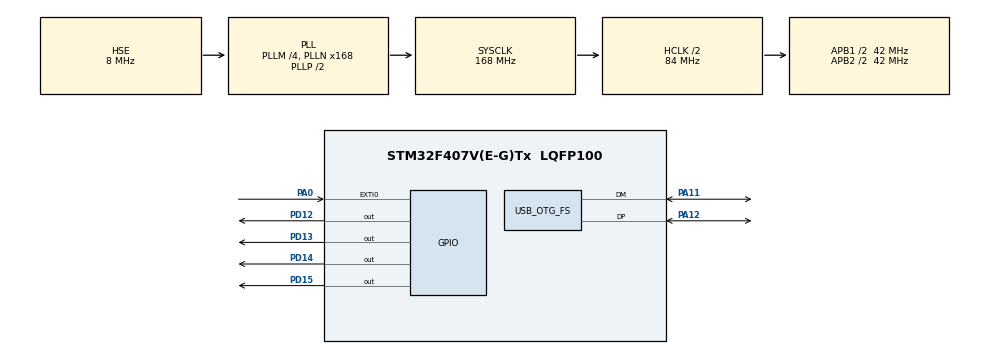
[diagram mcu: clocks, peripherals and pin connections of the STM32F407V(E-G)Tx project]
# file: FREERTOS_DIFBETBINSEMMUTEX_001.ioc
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FREERTOS.BinarySemaphores01=myBinarySem01,Dynamic,NULL,;myBinarySem02,Dynamic,NULL,Available
FREERTOS.Mutexes01=myMutex01,Dynamic,NULL,Depleted;myMutex02,Dynamic,NULL,Available
FREERTOS.Tasks01=Task1,1,256,StartTask1,Default,NULL,Dynamic,NULL,NULL;Task2,0,256,StartTask2,Default,NULL,Dynamic,NULL,NULL;myTask03,-1,128,StartTask03,Default,NULL,Dynamic,NULL,NULL
FREERTOS.configTOTAL_HEAP_SIZE=15000
FREERTOS.configUSE_NEWLIB_REENTRANT=1
Mcu.Family=STM32F4
Mcu.Name=STM32F407V(E-G)Tx
Mcu.Package=LQFP100
NVIC.EXTI0_IRQn=true\:5\:0\:false\:false\:true\:true\:true\:true\:true
NVIC.OTG_FS_IRQn=true\:5\:0\:false\:false\:true\:true\:false\:true\:true
NVIC.PriorityGroup=NVIC_PRIORITYGROUP_4
NVIC.TIM2_IRQn=true\:15\:0\:false\:false\:true\:false\:false\:true\:true
NVIC.TimeBase=TIM2_IRQn
NVIC.TimeBaseIP=TIM2
PA0-WKUP.GPIO_ModeDefaultEXTI=GPIO_MODE_IT_RISING
PA0-WKUP.GPIO_PuPd=GPIO_PULLDOWN
PA0-WKUP.Signal=GPXTI0
PA11.Mode=Device_Only
PA11.Signal=USB_OTG_FS_DM
PA12.Mode=Device_Only
PA12.Signal=USB_OTG_FS_DP
PA13.Mode=Serial_Wire
PA13.Signal=SYS_JTMS-SWDIO
PA14.Mode=Serial_Wire
PA14.Signal=SYS_JTCK-SWCLK
PD12.Signal=GPIO_Output
PD13.Signal=GPIO_Output
PD14.Signal=GPIO_Output
PD15.Signal=GPIO_Output
PH0-OSC_IN.Mode=HSE-External-Oscillator
PH0-OSC_IN.Signal=RCC_OSC_IN
PH1-OSC_OUT.Mode=HSE-External-Oscillator
PH1-OSC_OUT.Signal=RCC_OSC_OUT
ProjectManager.HeapSize=0x200
ProjectManager.StackSize=0x400
ProjectManager.TargetToolchain=STM32CubeIDE
RCC.48MHZClocksFreq_Value=48000000
RCC.AHBCLKDivider=RCC_SYSCLK_DIV2
RCC.AHBFreq_Value=84000000
RCC.APB1CLKDivider=RCC_HCLK_DIV2
RCC.APB1Freq_Value=42000000
RCC.APB1TimFreq_Value=84000000
RCC.APB2CLKDivider=RCC_HCLK_DIV2
RCC.APB2Freq_Value=42000000
RCC.APB2TimFreq_Value=84000000
RCC.CortexFreq_Value=84000000
RCC.HCLKFreq_Value=84000000
RCC.HSE_VALUE=8000000
RCC.HSI_VALUE=16000000
RCC.LSE_VALUE=32768
RCC.PLLM=4
RCC.PLLN=168
RCC.PLLQ=7
RCC.SYSCLKFreq_VALUE=168000000
RCC.SYSCLKSource=RCC_SYSCLKSOURCE_PLLCLK
RCC.VCOOutputFreq_Value=336000000
USB_DEVICE.CLASS_NAME_FS=CDC
USB_DEVICE.PRODUCT_STRING_CDC_FS=STM32 Virtualcom
USB_DEVICE.VirtualMode-CDC_FS=Cdc
USB_DEVICE.VirtualModeFS=Cdc_FS
USB_OTG_FS.VirtualMode=Device_Only
VP_FREERTOS_VS_CMSIS_V1.Mode=CMSIS_V1
VP_SYS_VS_tim2.Mode=TIM2
VP_USB_DEVICE_VS_USB_DEVICE_CDC_FS.Mode=CDC_FS
board=custom

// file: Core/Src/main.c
/* USER CODE BEGIN Header */
/**
  ******************************************************************************
  * @file           : main.c
  * @brief          : Main program body
  ******************************************************************************
  * @attention
  *
  * Copyright (c) 2024 STMicroelectronics.
  * All rights reserved.
  *
  * This software is licensed under terms that can be found in the LICENSE file
  * in the root directory of this software component.
  * If no LICENSE file comes with this software, it is provided AS-IS.
  *
  ******************************************************************************
  */
/* USER CODE END Header */
#include "main.h"
#include "cmsis_os.h"
#include "usb_device.h"

/* USER CODE BEGIN Includes */
#include "semphr.h"
#include "FreeRTOS.h"
#include "task.h"

#include "stdint.h"

#include "usbd_cdc_if.h"
#include "string.h"
#include "usbd_desc.h"
#include "usbd_conf.h"

volatile uint8_t control = 0;

/* USER CODE END Includes */

osThreadId Task1Handle;
osThreadId Task2Handle;
osThreadId myTask03Handle;
osMutexId myMutex01Handle;
osMutexId myMutex02Handle;
osSemaphoreId myBinarySem01Handle;
osSemaphoreId myBinarySem02Handle;

void SystemClock_Config(void);
static void MX_GPIO_Init(void);
void StartTask1(void const * argument);
void StartTask2(void const * argument);
void StartTask03(void const * argument);

int main(void)
{

  /* MCU Configuration--------------------------------------------------------*/

  /* Reset of all peripherals, Initializes the Flash interface and the Systick. */
  HAL_Init();

  /* Configure the system clock */
  SystemClock_Config();

  /* Initialize all configured peripherals */
  MX_GPIO_Init();

  /* Create the mutex(es) */
  /* definition and creation of myMutex01 */
  osMutexDef(myMutex01);
  myMutex01Handle = osMutexCreate(osMutex(myMutex01));

  /* definition and creation of myMutex02 */
  osMutexDef(myMutex02);
  myMutex02Handle = osMutexCreate(osMutex(myMutex02));

  /* Create the semaphores(s) */
  /* definition and creation of myBinarySem01 */
  osSemaphoreDef(myBinarySem01);
  myBinarySem01Handle = osSemaphoreCreate(osSemaphore(myBinarySem01), 1);

  /* definition and creation of myBinarySem02 */
  osSemaphoreDef(myBinarySem02);
  myBinarySem02Handle = osSemaphoreCreate(osSemaphore(myBinarySem02), 1);

  /* Create the thread(s) */
  /* definition and creation of Task1 */
  osThreadDef(Task1, StartTask1, osPriorityAboveNormal, 0, 256);
  Task1Handle = osThreadCreate(osThread(Task1), NULL);

  /* definition and creation of Task2 */
  osThreadDef(Task2, StartTask2, osPriorityNormal, 0, 256);
  Task2Handle = osThreadCreate(osThread(Task2), NULL);

  /* definition and creation of myTask03 */
  osThreadDef(myTask03, StartTask03, osPriorityBelowNormal, 0, 128);
  myTask03Handle = osThreadCreate(osThread(myTask03), NULL);

  /* Start scheduler */
  osKernelStart();

  /* We should never get here as control is now taken by the scheduler */

  /* Infinite loop */
  while (1)
  {

  }
}

void SystemClock_Config(void)
{
  RCC_OscInitTypeDef RCC_OscInitStruct = {0};
  RCC_ClkInitTypeDef RCC_ClkInitStruct = {0};

  /** Configure the main internal regulator output voltage
  */
  __HAL_RCC_PWR_CLK_ENABLE();
  __HAL_PWR_VOLTAGESCALING_CONFIG(PWR_REGULATOR_VOLTAGE_SCALE1);

  /** Initializes the RCC Oscillators according to the specified parameters
  * in the RCC_OscInitTypeDef structure.
  */
  RCC_OscInitStruct.OscillatorType = RCC_OSCILLATORTYPE_HSE;
  RCC_OscInitStruct.HSEState = RCC_HSE_ON;
  RCC_OscInitStruct.PLL.PLLState = RCC_PLL_ON;
  RCC_OscInitStruct.PLL.PLLSource = RCC_PLLSOURCE_HSE;
  RCC_OscInitStruct.PLL.PLLM = 4;
  RCC_OscInitStruct.PLL.PLLN = 168;
  RCC_OscInitStruct.PLL.PLLP = RCC_PLLP_DIV2;
  RCC_OscInitStruct.PLL.PLLQ = 7;
  if (HAL_RCC_OscConfig(&RCC_OscInitStruct) != HAL_OK)
  {
    Error_Handler();
  }

  /** Initializes the CPU, AHB and APB buses clocks
  */
  RCC_ClkInitStruct.ClockType = RCC_CLOCKTYPE_HCLK|RCC_CLOCKTYPE_SYSCLK
                              |RCC_CLOCKTYPE_PCLK1|RCC_CLOCKTYPE_PCLK2;
  RCC_ClkInitStruct.SYSCLKSource = RCC_SYSCLKSOURCE_PLLCLK;
  RCC_ClkInitStruct.AHBCLKDivider = RCC_SYSCLK_DIV2;
  RCC_ClkInitStruct.APB1CLKDivider = RCC_HCLK_DIV2;
  RCC_ClkInitStruct.APB2CLKDivider = RCC_HCLK_DIV2;

  if (HAL_RCC_ClockConfig(&RCC_ClkInitStruct, FLASH_LATENCY_2) != HAL_OK)
  {
    Error_Handler();
  }
}

static void MX_GPIO_Init(void)
{
  GPIO_InitTypeDef GPIO_InitStruct = {0};

  /* GPIO Ports Clock Enable */
  __HAL_RCC_GPIOH_CLK_ENABLE();
  __HAL_RCC_GPIOA_CLK_ENABLE();
  __HAL_RCC_GPIOD_CLK_ENABLE();

  /*Configure GPIO pin Output Level */
  HAL_GPIO_WritePin(GPIOD, GPIO_PIN_12|GPIO_PIN_13|GPIO_PIN_14|GPIO_PIN_15, GPIO_PIN_RESET);

  /*Configure GPIO pin : PA0 */
  GPIO_InitStruct.Pin = GPIO_PIN_0;
  GPIO_InitStruct.Mode = GPIO_MODE_IT_RISING;
  GPIO_InitStruct.Pull = GPIO_PULLDOWN;
  HAL_GPIO_Init(GPIOA, &GPIO_InitStruct);

  /*Configure GPIO pins : PD12 PD13 PD14 PD15 */
  GPIO_InitStruct.Pin = GPIO_PIN_12|GPIO_PIN_13|GPIO_PIN_14|GPIO_PIN_15;
  GPIO_InitStruct.Mode = GPIO_MODE_OUTPUT_PP;
  GPIO_InitStruct.Pull = GPIO_NOPULL;
  GPIO_InitStruct.Speed = GPIO_SPEED_FREQ_LOW;
  HAL_GPIO_Init(GPIOD, &GPIO_InitStruct);

  /* EXTI interrupt init*/
  HAL_NVIC_SetPriority(EXTI0_IRQn, 5, 0);
  HAL_NVIC_EnableIRQ(EXTI0_IRQn);

}

/* USER CODE BEGIN 4 */

void HAL_GPIO_EXTI_Callback(uint16_t GPIO_Pin)
{
	while(HAL_GPIO_ReadPin(GPIOA,GPIO_PIN_0));

	if (GPIO_Pin == GPIO_PIN_0)
	{
		BaseType_t xHigherPriorityTaskWoken = pdFALSE;

		// Release (give) the semaphore from ISR
		xSemaphoreGiveFromISR(myMutex02Handle, &xHigherPriorityTaskWoken);

		// Perform a context switch if needed
		portYIELD_FROM_ISR(xHigherPriorityTaskWoken);
	}
}

/* USER CODE END 4 */

void StartTask1(void const * argument)
{
  /* init code for USB_DEVICE */
  MX_USB_DEVICE_Init();
  /* USER CODE BEGIN 5 */

  /* Infinite loop */
  for(;;)
  {
	  if(xSemaphoreTake(myMutex01Handle,portMAX_DELAY) == pdTRUE)
	  {
		  if(control == 1)
		  {
			  HAL_Delay(1000);
			  HAL_GPIO_TogglePin(GPIOD,GPIO_PIN_14);
		  }

		  char str1[] = "Entered Task1 and toggling led!\n";
		  CDC_Transmit_FS((uint8_t *)str1, strlen(str1));

		  HAL_GPIO_TogglePin(GPIOD,GPIO_PIN_12);
		  xSemaphoreGive(myMutex01Handle);

	  }
	  vTaskDelay(3000);
  }
  /* USER CODE END 5 */
}

void StartTask2(void const * argument)
{
  /* USER CODE BEGIN StartTask2 */
  /* Infinite loop */
  for(;;)
  {
	  if(xSemaphoreTake(myMutex01Handle,portMAX_DELAY) == pdTRUE)
	  {
		  HAL_Delay(1000);
		  HAL_GPIO_TogglePin(GPIOD,GPIO_PIN_12);

		  char str2[] = "Entered Task2 and toggling led!\n";
		  CDC_Transmit_FS((uint8_t *)str2, strlen(str2));

		  HAL_GPIO_TogglePin(GPIOD,GPIO_PIN_13);

		  xSemaphoreGive(myMutex01Handle);
	  }
	  vTaskDelay(3000);
  }
  /* USER CODE END StartTask2 */
}

void StartTask03(void const * argument)
{
  /* USER CODE BEGIN StartTask03 */
  /* Infinite loop */
  for(;;)
  {
    if(xSemaphoreTake(myMutex01Handle,portMAX_DELAY) == pdTRUE)
    {
    	HAL_Delay(1000);
    	HAL_GPIO_TogglePin(GPIOD,GPIO_PIN_13);

    	char str3[] = "Entered Task3 and toggling led!\n";
    	CDC_Transmit_FS((uint8_t *)str3,strlen(str3));

    	HAL_GPIO_TogglePin(GPIOD,GPIO_PIN_14);

    	control = 1;
    	xSemaphoreGive(myMutex01Handle);
    }
    vTaskDelay(3000);
  }
  /* USER CODE END StartTask03 */
}

void HAL_TIM_PeriodElapsedCallback(TIM_HandleTypeDef *htim)
{
  if (htim->Instance == TIM2) {
    HAL_IncTick();
  }
}

void Error_Handler(void)
{
  __disable_irq();
  while (1)
  {
  }
}
